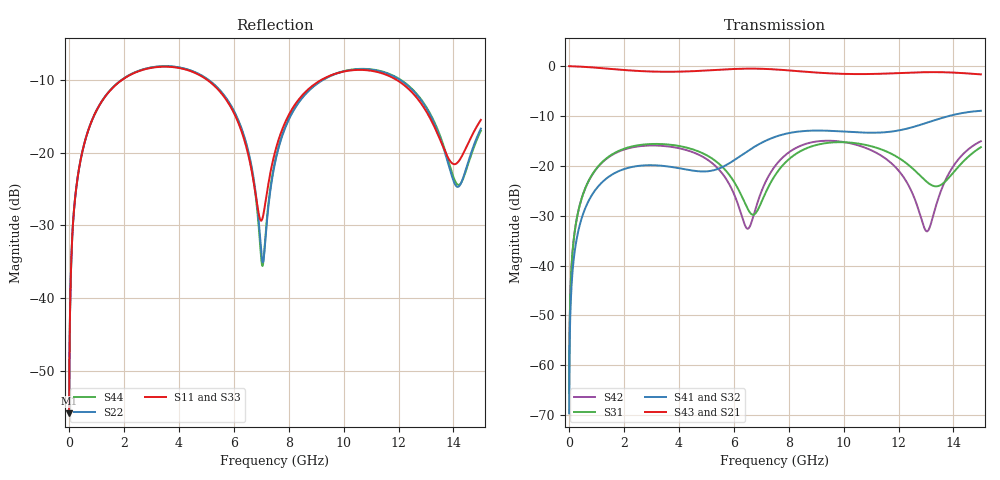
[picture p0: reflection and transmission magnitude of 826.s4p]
! Created with skrf 1.8.0 (http://scikit-rf.org).
# GHz S RI R 50.0
!freq ReS11 ImS11 ReS12 ImS12 ReS13 ImS13
! ReS14 ImS14
! ReS21 ImS21 ReS22 ImS22 ReS23 ImS23
! ReS24 ImS24
! ReS31 ImS31 ReS32 ImS32 ReS33 ImS33
! ReS34 ImS34
! ReS41 ImS41 ReS42 ImS42 ReS43 ImS43
! ReS44 ImS44
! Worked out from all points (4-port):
!   2499 points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, 5 MHz to 15 GHz, reference 50 ohm
!   strongest paths, dB at 5 MHz, 3.476 GHz, 7.19 GHz, 11.1 GHz, 15 GHz:
!     S43: 0.0, -1.1, -0.6, -1.6, -1.7
!     S21: 0.0, -1.1, -0.6, -1.6, -1.7
!     S41: -69.6, -20.0, -14.9, -13.4, -9.0
!     S32: -69.6, -20.1, -14.9, -13.4, -9.0
!     S31: -65.6, -15.7, -25.0, -16.2, -16.3
!     S42: -65.6, -16.0, -22.9, -17.1, -15.1
!   lowest |S11| = -55.9 dB at 5 MHz (marker M1), VSWR 1.00, Z = 50.1 + j0.0973 ohm
!   |S11| at or under -10 dB: start of sweep to 1.93 GHz; 5.036 GHz to 9.186 GHz (4.15 GHz wide, 58.4 % of centre); 11.93 GHz to end of sweep
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0.005  0.00128 0.000971  0.9987 -0.00249  6.38e-05 0.000522  -6.19e-05 -0.000324
       0.9987 -0.00249  0.00128 0.000971  -6.19e-05 -0.000324  6.37e-05 0.000522
       6.38e-05 0.000522  -6.19e-05 -0.000324  0.00128 0.000971  0.9987 -0.00249
       -6.19e-05 -0.000324  6.37e-05 0.000522  0.9987 -0.00249  0.00128 0.000971
0.4126719  0.0241 0.0835  0.9666 -0.2037  0.0121 0.0406  -0.00971 -0.025
           0.9666 -0.2037  0.0242 0.0835  -0.0097 -0.025  0.0114 0.0408
           0.0121 0.0406  -0.0097 -0.025  0.0241 0.0835  0.9666 -0.2037
           -0.00971 -0.025  0.0114 0.0408  0.9666 -0.2037  0.0242 0.0835
2.125886  0.2871 0.1708  0.5049 -0.7553  0.1435 0.0506  -0.095 0.0018
          0.5049 -0.7553  0.2904 0.1684  -0.0949 0.00168  0.1345 0.0641
          0.1435 0.0506  -0.0949 0.00168  0.287 0.1707  0.505 -0.7553
          -0.095 0.0018  0.1345 0.0641  0.505 -0.7553  0.2902 0.1684
7.021676  0.0341 0.00353  -0.9379 -0.0645  -0.0221 0.0381  -0.00626 0.1706
          -0.9379 -0.0645  0.0173 -0.00772  -0.00796 0.1704  0.0322 0.0465
          -0.0221 0.0381  -0.00796 0.1704  0.0345 0.00637  -0.9379 -0.064
          -0.00626 0.1706  0.0322 0.0465  -0.9379 -0.064  0.0164 -0.00505
9.278866  0.2899 0.1429  -0.5089 0.6854  0.1659 0.0247  0.211 0.0796
          -0.5089 0.6854  0.2811 0.1499  0.2091 0.0818  0.1771 0.0196
          0.1659 0.0247  0.2091 0.0818  0.2935 0.1435  -0.5087 0.6843
          0.211 0.0796  0.1771 0.0196  -0.5087 0.6843  0.2818 0.1529
13.03668  0.1412 -0.1248  0.6991 0.5181  -0.056 -0.0401  0.1545 -0.2224
          0.6991 0.5181  0.1321 -0.1486  0.1594 -0.219  -0.0212 -0.00583
          -0.056 -0.0401  0.1594 -0.219  0.142 -0.1284  0.6961 0.5211
          0.1545 -0.2224  -0.0212 -0.00583  0.6961 0.5211  0.1364 -0.1496
15  0.1403 0.0924  0.7966 -0.2175  0.0917 0.1235  -0.1283 -0.3324
    0.7966 -0.2175  0.1101 0.0964  -0.1216 -0.3345  0.1103 0.1379
    0.0917 0.1235  -0.1216 -0.3345  0.1385 0.0902  0.7988 -0.2121
    -0.1283 -0.3324  0.1103 0.1379  0.7988 -0.2121  0.1079 0.0915
